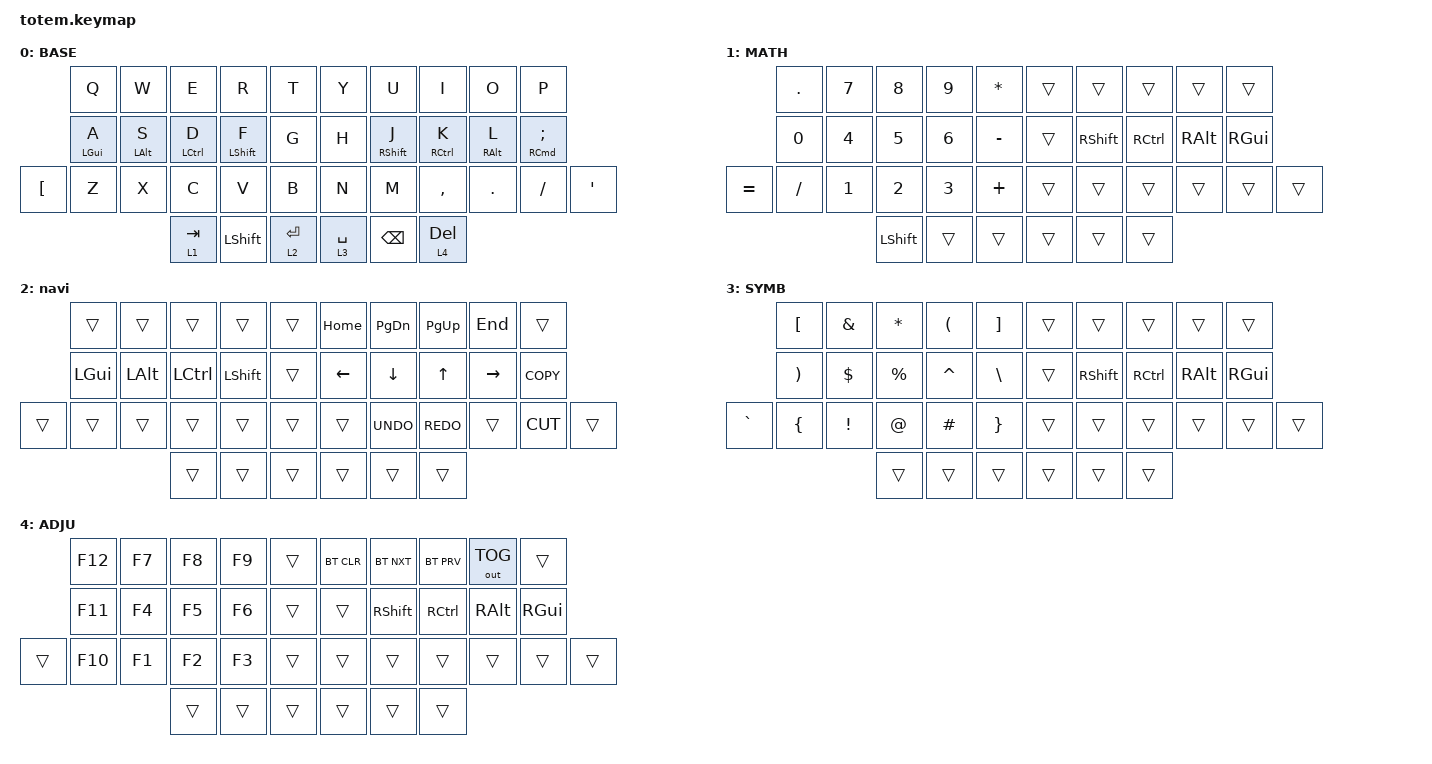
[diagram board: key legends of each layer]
//
//                                                        ▀▀▀▀▀     ▀▀▀▀▀          ▀▀█▀▀
//                                                        ▄▀▀▀▄  ▄  ▄▀▀▀▄  ▄  ▄▀▀▀▄  █  ▄▀▀▀▄
//                                                        █   █  █  █   █  █  █   █  █  █   █
//                                                         ▀▀▀   █   ▀▀▀   █   ▀▀▀   ▀   ▀▀▀
//                                                               █      ▄▄▄█▄▄▄    █   █  
//                                                               ▀      █  █  █     █▄█
//                                                             ▀▀▀▀▀    █  █  █      ▀
//                                                                      ▀  ▀  ▀
//
// ▄▄▄▄▄▄▄▄▄▄▄▄▄▄▄▄▄▄▄▄▄▄▄▄▄▄▄▄▄▄▄▄▄▄▄▄▄▄▄▄▄▄▄▄▄▄▄▄▄▄▄▄▄▄▄▄▄▄▄▄▄▄▄▄▄▄▄▄▄▄▄▄▄▄▄▄▄▄▄▄▄▄▄▄▄▄▄▄▄▄▄▄▄▄▄▄▄▄▄▄▄▄▄▄▄▄▄▄▄▄▄▄▄▄▄▄▄▄▄▄▄▄▄▄▄▄▄▄▄▄▄▄▄▄▄▄▄▄▄▄▄▄▄▄▄▄▄▄▄

#define BASE 0
#define MATH 1
#define SYMB 2
#define ADJU  3

#include <behaviors.dtsi>
#include <dt-bindings/zmk/bt.h>
#include <dt-bindings/zmk/keys.h>
#include <dt-bindings/zmk/outputs.h>

/ {
    combos {
        compatible = "zmk,combos";

        combo_esc {
            timeout-ms = <50>;
            key-positions = <0 1>;
            bindings = <&kp ESC>;
        };

        commanda {
            bindings = <&kp LG(A)>;
            key-positions = <13 24>;
        };

        backspase {
            bindings = <&kp BACKSPACE>;
            key-positions = <3 14>;
        };

        raycast {
            bindings = <&kp LA(SPACE)>;
            key-positions = <32 33>;
        };

        delete {
            bindings = <&kp LS(BACKSPACE)>;
            key-positions = <12 13 14>;
        };
    };

    behaviors {
        ss_hs_modmorph: ss_hs_modmorph {
            compatible = "zmk,behavior-mod-morph";
            label = "SS_HS_MODMORPH";
            bindings = <&kp M>, <&kp RIGHT_BRACKET>;

            #binding-cells = <0>;
            mods = <(MOD_LSFT|MOD_RSFT)>;
        };

        kh_hs_tapdance: kh_hs_tapdance {
            compatible = "zmk,behavior-tap-dance";
            label = "KH_HS_TAPDANCE";
            #binding-cells = <0>;
            tapping-term-ms = <200>;
            bindings = <&kp LEFT_BRACKET>, <&kp RIGHT_BRACKET>;
        };

        hrm: hrm {
            compatible = "zmk,behavior-hold-tap";
            #binding-cells = <2>;
            flavor = "tap-preferred";
            tapping-term-ms = <190>;
            quick-tap-ms = <190>;
            require-prior-idle-ms = <125>;
            bindings = <&kp>, <&kp>;
        };
    };

    keymap {
        compatible = "zmk,keymap";

        base {
            label = "BASE";
            bindings = <
                  &kp Q            &kp W        &kp E                &kp R           &kp T          &kp Y        &kp U          &kp I                 &kp O        &kp P
                  &hrm LEFT_GUI A  &hrm LALT S  &hrm LEFT_CONTROL D  &hrm LSHFT F    &kp G          &kp H        &hrm RSHFT J   &hrm RIGHT_CONTROL K  &hrm RALT L  &hrm RIGHT_COMMAND SEMICOLON
&kp LEFT_BRACKET  &kp Z            &kp X        &kp C                &kp V           &kp B          &kp N        &kp M          &kp COMMA             &kp DOT      &kp FSLH                      &kp SQT
                                                &lt 1 TAB            &kp LEFT_SHIFT  &lt 2 ENTER    &lt 3 SPACE  &kp BACKSPACE  &lt 4 DELETE
            >;
        };

        math {
            label = "MATH";
            bindings = <
           &kp DOT    &kp N7        &kp N8          &kp N9        &kp ASTERISK    &trans  &trans           &trans     &trans         &trans
           &kp N0     &kp NUMBER_4  &kp N5          &kp N6        &kp MINUS       &trans  &kp RIGHT_SHIFT  &kp RCTRL  &kp RIGHT_ALT  &kp RIGHT_GUI
&kp EQUAL  &kp SLASH  &kp NUMBER_1  &kp NUMBER_2    &kp NUMBER_3  &kp PLUS        &trans  &trans           &trans     &trans         &trans         &trans
                                    &kp LEFT_SHIFT  &trans        &trans          &trans  &trans           &trans
            >;
        };

        navi {
            bindings = <
        &trans    &trans    &trans     &trans          &trans    &kp HOME  &kp PAGE_DOWN  &kp PG_UP   &kp END    &trans
        &kp LGUI  &kp LALT  &kp LCTRL  &kp LEFT_SHIFT  &trans    &kp LEFT  &kp DOWN       &kp UP      &kp RIGHT  &kp K_COPY
&trans  &trans    &trans    &trans     &trans          &trans    &trans    &kp K_UNDO     &kp K_REDO  &trans     &kp K_CUT   &trans
                            &trans     &trans          &trans    &trans    &trans         &trans
            >;
        };

        symb {
            label = "SYMB";
            bindings = <
           &kp LEFT_BRACKET       &kp AMPERSAND    &kp ASTRK    &kp LPAR   &kp RIGHT_BRACKET    &trans  &trans     &trans     &trans    &trans
           &kp RIGHT_PARENTHESIS  &kp DOLLAR       &kp PERCENT  &kp CARET  &kp BACKSLASH        &trans  &kp RSHFT  &kp RCTRL  &kp RALT  &kp RGUI
&kp GRAVE  &kp LEFT_BRACE         &kp EXCLAMATION  &kp AT_SIGN  &kp HASH   &kp RIGHT_BRACE      &trans  &trans     &trans     &trans    &trans    &trans
                                                   &trans       &trans     &trans               &trans  &trans     &trans
            >;
        };

        func {
            label = "ADJU";
            bindings = <
        &kp F12  &kp F7  &kp F8  &kp F9  &trans    &bt BT_CLR  &bt BT_NXT  &bt BT_PRV  &out OUT_TOG  &trans
        &kp F11  &kp F4  &kp F5  &kp F6  &trans    &trans      &kp RSHIFT  &kp RCTRL   &kp RALT      &kp RGUI
&trans  &kp F10  &kp F1  &kp F2  &kp F3  &trans    &trans      &trans      &trans      &trans        &trans    &trans
                         &trans  &trans  &trans    &trans      &trans      &trans
            >;
        };
    };
};
